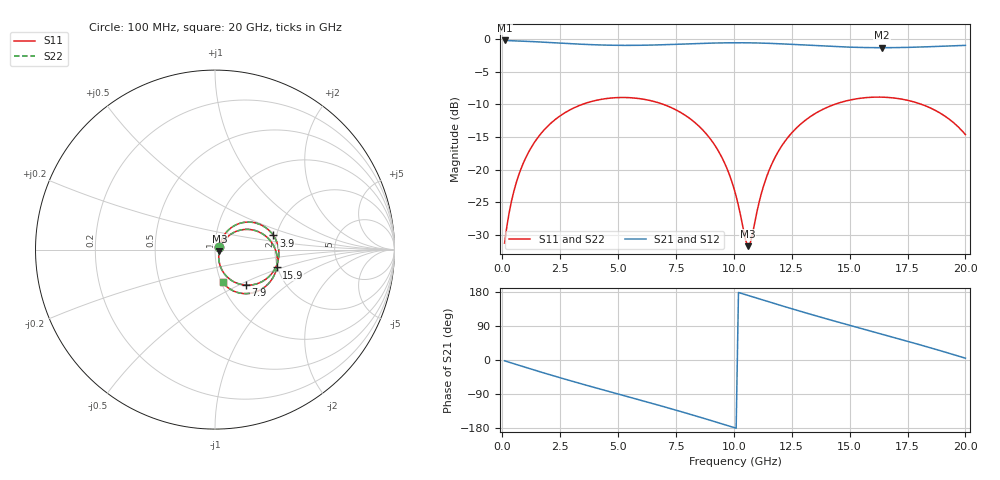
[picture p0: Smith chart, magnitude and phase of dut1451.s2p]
! Touchstone file exported from HFSS 2026.1.0
!  File:  C:/ffzhzh/LocalFiles/Ansys_Project_Files/temp_train_TSV_RDL_1451_1783358893_48288.aedt
!  Generated:  01:40:00 AM Jul  7, 2026
!  Design:  TSV_RDL
!  Project:  temp_train_TSV_RDL_1451_1783358893_48288
! Variables:
!  h_bsmrdl = 3.07um
!  h_ox = 20um
!  h_rdl = 5um
!  h_sub = 77.83um
!  h_tmrdl = 4.99um
!  h_tsv = 77.83um
!  h_via = 3um
!  l_bsmrdl = 664.38um
!  l_sub = 6057.99um
!  l_tmrdl = 880.85um
!  m_sub = 200um
!  pitch = 40.48um
!  r_tsv = 8.93um
!  s_tmrdl = 10um
!  w_bsmrdl = 17.49um
!  w_sub = 500um
!  w_tmrdl = 29.66um
!  x_tsv_center1 = 895.68um
!  x_tsv_center2 = 1577.55um
!  x_tsv_center3 = 2488.06um
!  x_tsv_center4 = 3169.93um
!  x_tsv_center5 = 4080.44um
!  x_tsv_center6 = 4762.31um
# GHz S MA R 50.000000
! Terminal data exported
! Port[1] = TM_RDL1_1_T1
! Port[2] = TM_RDL5_1_T1
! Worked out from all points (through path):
!   200 points, 100 MHz to 20 GHz, reference 50 ohm
!   highest |S21| = -0.21 dB at 100 MHz (marker M1); lowest = -1.3 dB at 16.4 GHz (marker M2)
!   group delay of S21, straight-line fit = 49.2 ps
!   lowest |S11| = -31.7 dB at 10.6 GHz (marker M3), VSWR 1.05, Z = 52.5 - j0.904 ohm
!   |S11| at or under -10 dB: start of sweep to 3.452 GHz; 6.959 GHz to 14.35 GHz (7.387 GHz wide, 69.3 % of centre); 18.12 GHz to end of sweep
!   |S22| runs from -31.8 to -8.9 dB; largest |S21 - S12| = 2.1e-13
!   S11 on the Smith chart (normalised r, x): 100 MHz: 1.05, +0.03; 3.9 GHz: 1.92, +0.34; 7.9 GHz: 1.28, -0.54; 15.9 GHz: 1.98, -0.45; 20 GHz: 1.02, -0.38
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0.1  0.02746 29.7  0.9766 -2.1  0.9766 -2.1  0.02746 29.7
! Gamma 0 0 0 0
! Port Impedance 50 0 50 0
0.5  0.0685 56.1  0.9699 -9.8  0.9699 -9.8  0.0685 56.1
1.2  0.1429 54.5  0.9591 -23.1  0.9591 -23.1  0.1429 54.5
2.2  0.2356 40.6  0.9385 -41.5  0.9385 -41.5  0.2356 40.6
3.5  0.3185 20.0  0.9122 -64.4  0.9122 -64.4  0.3185 20.0
3.9  0.3347 13.7  0.906 -71.2  0.906 -71.2  0.3347 13.6
5.4  0.3568 -10.0  0.8955 -96.4  0.8955 -96.4  0.3568 -10.0
6.8  0.3234 -32.0  0.9037 -120.2  0.9037 -120.2  0.3233 -32.0
7.9  0.2612 -49.3  0.9178 -139.4  0.9178 -139.4  0.2612 -49.4
9.2  0.1519 -67.9  0.9335 -163.1  0.9335 -163.1  0.1518 -68.0
10.1  0.06258 -69.4  0.9379 -180.0  0.9379 -180.0  0.06241 -69.8
10.6  0.02601 -19.3  0.9369 170.6  0.9369 170.6  0.02558 -19.4
10.7  0.02703 2.4  0.9363 168.7  0.9363 168.7  0.02662 2.6
11.3  0.0768 44.9  0.931 157.4  0.931 157.4  0.07664 45.1
11.7  0.1166 44.6  0.9257 150.0  0.9257 150.0  0.1165 44.8
13.4  0.2619 22.3  0.8939 119.1  0.8939 119.1  0.2618 22.4
14.6  0.3272 3.8  0.8729 98.4  0.8729 98.4  0.3271 3.9
15.9  0.3585 -16.1  0.8606 76.4  0.8606 76.4  0.3584 -16.1
16.4  0.3595 -23.8  0.8595 68.0  0.8595 68.0  0.3595 -23.8
16.7  0.3572 -28.4  0.8599 63.0  0.8599 63.0  0.3571 -28.3
18.5  0.2965 -55.9  0.8754 32.0  0.8754 32.0  0.2965 -55.8
20  0.186 -76.8  0.8956 4.8  0.8956 4.8  0.1861 -76.6
